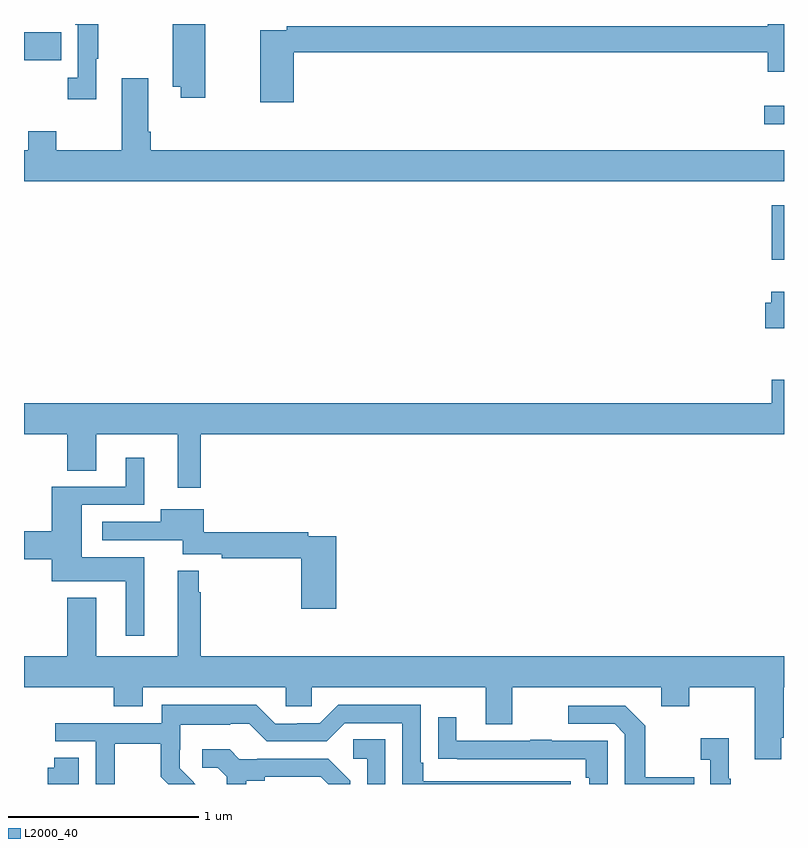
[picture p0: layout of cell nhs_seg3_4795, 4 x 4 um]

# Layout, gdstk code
import gdstk
lib = gdstk.Library(unit=1e-6, precision=1e-09)
def R(c, l, rs):  # rectangles x0, y0, x1, y1
    for r in rs: c.add(gdstk.rectangle(r[:2], r[2:], *l))
def P(c, l, *ps):  # polygons
    for p in ps: c.add(gdstk.Polygon(p, *l))
L2000_40 = (2000, 40)

nhs_seg3_4795 = lib.new_cell('nhs_seg3_4795')
R(nhs_seg3_4795, L2000_40, [(372.935,711.158,373,711.445), (372.897,711.872,373,711.969), (369,712.21,369.197,712.357)])
P(nhs_seg3_4795, L2000_40, [(369.954,712.4),(369.784,712.4),(369.784,712.07),(369.824,712.07),(369.824,712.011),(369.954,712.011)],
  [(370.421,712.252),(372.914,712.252),(372.914,712.148),(373,712.148),(373,712.4),(372.914,712.4),(372.914,712.388),(370.384,712.388),(370.384,712.368),(370.243,712.368),(370.243,711.987),(370.421,711.987)],
  [(369.379,712.217),(369.391,712.217),(369.391,712.4),(369.27,712.4),(369.27,712.397),(369.282,712.397),(369.282,712.118),(369.231,712.118),(369.231,712.005),(369.379,712.005)],
  [(373,711.736),(369.668,711.736),(369.668,711.832),(369.655,711.832),(369.655,712.114),(369.515,712.114),(369.515,711.736),(369.171,711.736),(369.171,711.835),(369.023,711.835),(369.023,711.736),(369,711.736),(369,711.572),(373,711.572)],
  [(373,710.992),(372.932,710.992),(372.932,710.934),(372.902,710.934),(372.902,710.798),(373,710.798)],
  [(369.931,710.24),(373,710.24),(373,710.528),(372.935,710.528),(372.935,710.404),(369,710.404),(369,710.24),(369.227,710.24),(369.227,710.05),(369.379,710.05),(369.379,710.24),(369.809,710.24),(369.809,709.959),(369.931,709.959)],
  [(369.634,709.594),(369.304,709.594),(369.304,709.869),(369.634,709.869),(369.634,710.116),(369.536,710.116),(369.536,709.965),(369.146,709.965),(369.146,709.73),(369,709.73),(369,709.583),(369.146,709.583),(369.146,709.466),(369.536,709.466),(369.536,709.179),(369.634,709.179)],
  [(370.643,709.704),(370.496,709.704),(370.496,709.724),(369.946,709.724),(369.946,709.846),(369.719,709.846),(369.719,709.779),(369.411,709.779),(369.411,709.683),(369.836,709.683),(369.836,709.608),(370.042,709.608),(370.042,709.588),(370.46,709.588),(370.46,709.323),(370.643,709.323)],
  [(369.931,709.409),(369.92,709.409),(369.92,709.522),(369.809,709.522),(369.809,709.072),(369.379,709.072),(369.379,709.381),(369.227,709.381),(369.227,709.072),(369,709.072),(369,708.908),(369.473,708.908),(369.473,708.809),(369.625,708.809),(369.625,708.908),(370.377,708.908),(370.377,708.81),(370.515,708.81),(370.515,708.908),(371.429,708.908),(371.429,708.714),(371.569,708.714),(371.569,708.908),(372.353,708.908),(372.353,708.809),(372.501,708.809),(372.501,708.908),(372.845,708.908),(372.845,708.531),(372.985,708.531),(372.985,708.643),(372.998,708.643),(372.998,708.908),(373,708.908),(373,709.072),(369.931,709.072)],
  [(369.477,708.612),(369.721,708.612),(369.721,708.437),(369.758,708.4),(369.9,708.4),(369.893,708.407),(369.894,708.408),(369.82,708.482),(369.82,708.579),(369.822,708.579),(369.822,708.713),(370.085,708.713),(370.085,708.717),(370.185,708.717),(370.278,708.624),(370.593,708.624),(370.689,708.72),(370.992,708.72),(370.992,708.4),(371.878,708.4),(371.878,708.414),(371.101,708.414),(371.101,708.511),(371.088,708.511),(371.088,708.816),(370.653,708.816),(370.557,708.72),(370.439,708.72),(370.439,708.717),(370.323,708.717),(370.223,708.817),(369.726,708.817),(369.726,708.72),(369.165,708.72),(369.165,708.624),(369.378,708.624),(369.378,708.4),(369.477,708.4)],
  [(372.527,708.435),(372.271,708.435),(372.271,708.707),(372.165,708.813),(371.865,708.813),(371.865,708.717),(372.108,708.717),(372.162,708.663),(372.162,708.4),(372.527,708.4)],
  [(372.072,708.627),(371.777,708.627),(371.777,708.632),(371.665,708.632),(371.665,708.627),(371.275,708.627),(371.275,708.751),(371.179,708.751),(371.179,708.532),(371.281,708.532),(371.281,708.531),(371.956,708.531),(371.956,708.434),(371.976,708.434),(371.976,708.4),(372.072,708.4)],
  [(372.721,708.427),(372.709,708.427),(372.709,708.64),(372.561,708.64),(372.561,708.527),(372.612,708.527),(372.612,708.4),(372.721,708.4)],
  [(370.902,708.635),(370.734,708.635),(370.734,708.534),(370.806,708.534),(370.806,708.4),(370.902,708.4)],
  [(370.171,708.416),(370.267,708.416),(370.267,708.438),(370.562,708.438),(370.6,708.4),(370.716,708.4),(370.716,708.418),(370.6,708.534),(370.228,708.534),(370.228,708.531),(370.134,708.531),(370.082,708.583),(369.939,708.583),(369.939,708.486),(370.02,708.486),(370.067,708.439),(370.067,708.4),(370.171,708.4)],
  [(369.289,708.539),(369.158,708.539),(369.158,708.486),(369.124,708.486),(369.124,708.4),(369.289,708.4)])

lib.write_gds('nhs_seg3_4795.gds')
